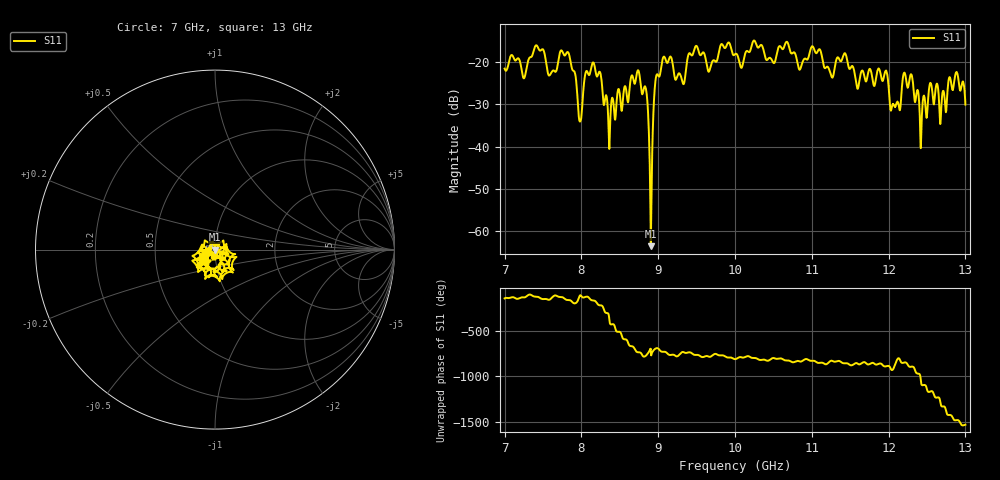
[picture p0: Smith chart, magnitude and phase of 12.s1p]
[Version] 2.0
! Rohde & Schwarz Vector Network Analyzer
! Rohde-Schwarz,ZNL20-2Port,1323001220200009,1.71.1.10-23.02.1.238
! Trace info:
! Nominal Param -> Actual Exported Buffer
! S11 -> S22
! Created: GMT+3 2024-09-24 16:38:51
# Hz S DB R 50
[Number of Ports] 1
! freq[Hz]  S11[mag dB]  S11[ang]
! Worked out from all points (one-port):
!   6001 points, 7 GHz to 13 GHz, reference 50 ohm
!   lowest |S11| = -63.5 dB at 8.904 GHz (marker M1), VSWR 1.00, Z = 50.1 - j0.00938 ohm
!   |S11| at or under -10 dB: start of sweep to end of sweep
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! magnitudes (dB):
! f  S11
! 7 GHz  -21.6
! 7.416 GHz  -16.1
! 7.592 GHz  -23.1
! 7.75 GHz  -17.5
! 7.906 GHz  -22.2
! 7.982 GHz  -34.0
! 8.149 GHz  -20.2
! 8.359 GHz  -39.3
! 8.5 GHz  -27.6
! 8.745 GHz  -22.2
! 8.845 GHz  -26.9
! 8.904 GHz  -63.5
! 8.981 GHz  -23.0
! 9.079 GHz  -18.8
! 9.25 GHz  -23.3
! 9.492 GHz  -16.2
! 9.66 GHz  -22.3
! 10 GHz  -18.2
! 10.75 GHz  -17.9
! 11.5 GHz  -21.6
! 11.96 GHz  -22.1
! 12.05 GHz  -30.2
! 12.25 GHz  -26.1
! 12.42 GHz  -39.1
! 12.54 GHz  -25.0
! 12.68 GHz  -33.0
! 12.88 GHz  -22.4
! 13 GHz  -30.1
